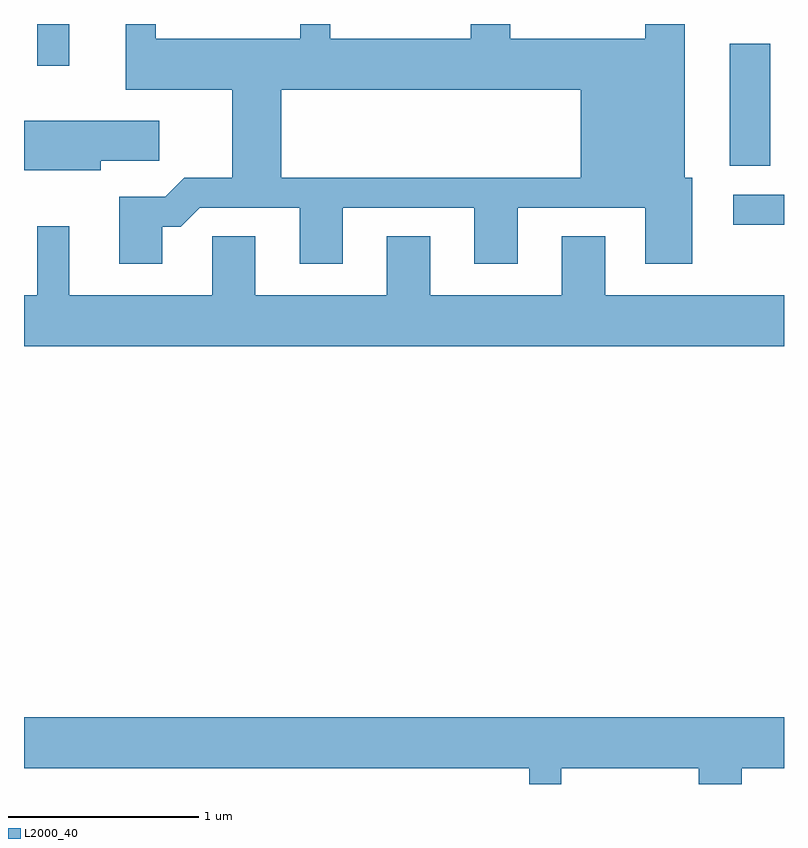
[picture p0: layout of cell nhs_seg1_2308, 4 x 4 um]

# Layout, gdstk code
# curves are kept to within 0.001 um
import gdstk
lib = gdstk.Library(unit=1e-6, precision=1e-09)
def R(c, l, rs):  # rectangles x0, y0, x1, y1
    for r in rs: c.add(gdstk.rectangle(r[:2], r[2:], *l))
def P(c, l, *ps):  # polygons
    for p in ps: c.add(gdstk.Polygon(p, *l))
L2000_40 = (2000, 40)

nhs_seg1_2308 = lib.new_cell('nhs_seg1_2308')
R(nhs_seg1_2308, L2000_40, [(259.343,904.656,259.611,904.814), (259.326,904.966,259.539,905.609), (255.681,905.493,255.849,905.712)])
P(nhs_seg1_2308, L2000_40, [(256.339,904.646),(256.437,904.646),(256.537,904.746),(257.061,904.746),(257.061,904.451),(257.289,904.451),(257.289,904.746),(257.981,904.746),(257.981,904.451),(258.209,904.451),(258.209,904.746),(258.881,904.746),(258.881,904.451),(259.129,904.451),(259.129,904.904),(259.089,904.904),(259.089,905.712),(258.881,905.712),(258.881,905.634),(258.169,905.634),(258.169,905.712),(257.961,905.712),(257.961,905.634),(257.224,905.634),(257.224,905.712),(257.066,905.712),(257.066,905.634),(256.304,905.634),(256.304,905.712),(256.146,905.712),(256.146,905.366),(256.706,905.366),(256.706,904.904),(256.964,904.904),(256.964,905.366),(258.541,905.366),(258.541,904.904),(256.454,904.904),(256.354,904.804),(256.111,904.804),(256.111,904.451),(256.339,904.451)],
  [(256.014,904.991),(256.324,904.991),(256.324,905.204),(255.611,905.204),(255.611,904.941),(256.014,904.941)],
  [(259.611,904.284),(258.669,904.284),(258.669,904.594),(258.441,904.594),(258.441,904.284),(257.749,904.284),(257.749,904.594),(257.521,904.594),(257.521,904.284),(256.829,904.284),(256.829,904.594),(256.601,904.594),(256.601,904.284),(255.849,904.284),(255.849,904.648),(255.681,904.648),(255.681,904.284),(255.611,904.284),(255.611,904.016),(259.611,904.016)],
  [(258.439,901.796),(259.161,901.796),(259.161,901.712),(259.389,901.712),(259.389,901.796),(259.611,901.796),(259.611,902.064),(255.611,902.064),(255.611,901.796),(258.271,901.796),(258.271,901.712),(258.439,901.712)])

lib.write_gds('nhs_seg1_2308.gds')
